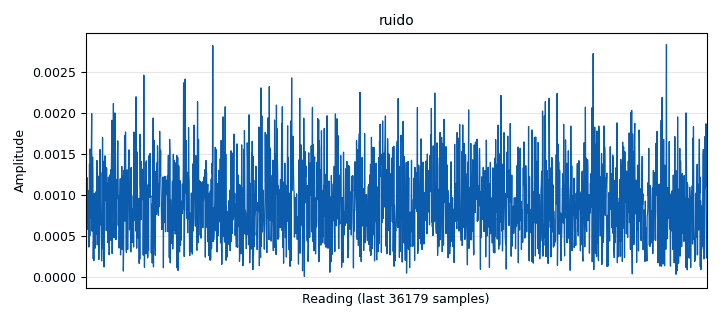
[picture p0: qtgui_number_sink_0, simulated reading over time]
options:
  parameters:
    author: gnuradio
    generate_options: qt_gui
    id: sensado
    output_language: python
    title: Not titled yet
  states: {}

blocks:
- name: samp_rate
  id: variable
  parameters:
    value: '32000'
  states: {}
- name: analog_noise_source_x_0
  id: analog_noise_source_x
  parameters:
    amp: '0.001'
    noise_type: analog.GR_GAUSSIAN
    seed: '42'
    type: complex
  states: {}
- name: analog_sig_source_x_0
  id: analog_sig_source_x
  parameters:
    amp: '0.001'
    freq: '1000'
    offset: '0'
    phase: '0'
    samp_rate: samp_rate
    type: complex
    waveform: analog.GR_TRI_WAVE
  states: {state: disabled}
- name: blocks_complex_to_mag_0_0
  id: blocks_complex_to_mag
  parameters: {}
  states: {}
- name: blocks_null_sink_0
  id: blocks_null_sink
  parameters:
    type: complex
  states: {}
- name: blocks_null_sink_0_0
  id: blocks_null_sink
  parameters:
    type: complex
  states: {}
- name: epy_block_1
  id: epy_block
  parameters:
    _source_code: "\"\"\"\nEmbedded Python Blocks:\n\nEach time this file is saved, GRC will instantiate the first class it finds\nto get ports and parameters of your block. The arguments to __init__  will\nbe the parameters. All of them are required to have default values!\n\"\"\"\n\nimport numpy as np\nfrom gnuradio import gr\nimport pmt\nimport zmq\nimport numpy as np\nimport math\nfrom datetime import datetime, timedelta\nimport numpy as np\n\n\nclass blk(gr.sync_block):  \n    \"\"\"Embedded Python Block example - a simple multiply const\"\"\"\n\n    def __init__(self, designator=\"A\"):  #¡¡¡ capaz hay que hacer algo distinto cuando tenemos un canal de cuando tenemos dos canales!!!\n        \"\"\"arguments to this function show up as parameters in GRC\"\"\"\n        gr.sync_block.__init__(\n            self,\n            name='potumbral',   # will show up in GRC\n            in_sig=[np.complex64],\n            out_sig=[(np.complex64,1), (np.complex64,1), (np.float32,2)] #[(np.complex64,2)] para probar, dado que tenemos una salida con dos valores\n        )\n        self.N_A = 1000 #Cantidad de muestras correspondiente a 20ms\n        self.subintervalos_A = 0\n        self.N_muestras_A = []\n        self.pow_4s_A = np.zeros(200)\n        \n        self.N_B = 1000 #Cantidad de muestras correspondiente a 20ms\n        self.subintervalos_B = 0\n        self.N_muestras_B = []\n        self.pow_4s_B = np.zeros(200)\n        \n        self.pow_minuto_A = np.full(15, 2e-14) #Se inicializa el arreglo para que el umbral de -107dBm=2e-14\n        self.pow_minuto_B = np.full(15, 2e-14) #Se inicializa el arreglo para que el umbral de -107dBm=2e-14 \n        \n        self.arr_pow_actual_A = np.full(5, 2e-14) #Se inicializa el arreglo que determina la potencia actual con el promedio. Se toma un promedio movil del ultimo ms (5 muestras) iniciando con una potencia inicial igual al umbral minimo  \n        self.arr_pow_actual_B = np.full(5, 2e-14) #Se inicializa el arreglo que determina la potencia actual con el promedio. Se toma un promedio movil del ultimo ms (5 muestras) iniciando con una potencia inicial igual al umbral minimo  \n        \n        self.umbral_A = 2e-14\n        self.umbral_B = 2e-14\n        \n        self.umb_y_pow_actual_A = np.zeros(2) #Se crea este arreglo que es lo que se le pasa al transmisor. Un umbral y una potencia actual en ese orden para que sepa interpretarlo.\n        self.salida_db_A = np.zeros(2) #Se crea este arreglo que es lo que se le pasa al transmisor. Un umbral y una potencia actual en ese orden para que sepa interpretarlo.\n        \n        self.umb_y_pow_actual_B = np.zeros(2) #Se crea este arreglo que es lo que se le pasa al transmisor. Un umbral y una potencia actual en ese orden para que sepa interpretarlo.\n        self.salida_db_B = np.zeros(2) #Se crea este arreglo que es lo que se le pasa al transmisor. Un umbral y una potencia actual en ese orden para que sepa interpretarlo.\n        self.slots_per_minute = 2250\n        self.slot_duration = 60/2250\n        self.samples_per_slot = int(self.slot_duration*50000)\n        \n        \n        self.designator = designator\n        \n        self.pow_actual_A = 1\n        self.umbral_actual_A = 1\n        \n        self.pow_actual_B = 1\n        self.umbral_actual_B = 1\n        \n        self.salida_A = np.zeros(2)\n        self.salida_B = np.zeros(2)\n        \n        self.power_A = 2e-7\n        self.power_B = 2e-7\n        \n        self.pow_avg_A = 2e-7\n        self.pow_avg_B = 2e-7\n        \n        self.slot_actual_A = 0 #Variable que se utiliza para saber en qué slot del frame actual se está\n        self.slot_actual_B = 0 #Variable que se utiliza para saber en qué slot del frame actual se está\n        \n        self.contador_muestra_A = 0 #Variable que permite determinar qué muestra del slot actual se está procesando  \n        self.contador_muestra_B = 0 #Variable que permite determinar qué muestra del slot actual se está procesando\n        \n        self.intervalo_evaluado_A = np.full(11, False) #Se define el arreglo que contendrá los últimos 11 intervalos de 100 microsegundos (0,1 ms). Esta es la cantidad de intervalos que entra en el rango donde se debe medir la potencia. Se toman intervalos de esa longitud pues es la longitud que se usa para calcular la potencia (la potencia es el promedio de los últimos 100 microsegundos).\n        self.intervalo_evaluado_B = np.full(11, False) #Se define el arreglo que contendrá los últimos 11 intervalos de 100 microsegundos (0,1 ms). Esta es la cantidad de intervalos que entra en el rango donde se debe medir la potencia. Se toman intervalos de esa longitud pues es la longitud que se usa para calcular la potencia (la potencia es el promedio de los últimos 100 microsegundos).\n        \n        self.puedo_usar_A = -1 #Variable que determina si puede utilizarse o no el slot actual, inicializada con -1 (no se puede transmitir)\n        self.puedo_usar_B = -1 #Variable que determina si puede utilizarse o no el slot actual, inicializada con -1 (no se puede transmitir)\n        \n        self.salida_slot_A = np.zeros(2) #Tupla usada para indicar si en e canal el slot actual puede usarse para transmitir o no\n        self.salida_slot_B = np.zeros(2) #Tupla usada para indicar si en e canal el slot actual puede usarse para transmitir o no\n                \n        self.slots_candidatos_A = [10, 11, 12, 13, 14, 15, 16, 17, 18, 19] #Arreglo con los slots donde el transmisor desea transmitir\n        self.slots_candidatos_B = [10, 11, 12, 13, 14, 15, 16, 17, 18, 19] #Arreglo con los slots donde el transmisor desea transmitir\n        \n        self.slots_recibidos = []\n        \n    def work(self, input_items, output_items):\n        \"\"\"example: multiply with constant\"\"\"\n        current_utc_time = datetime.utcnow()\n        start_of_minute = current_utc_time.replace(second=0, microsecond=0)\n        time_elapsed = current_utc_time - start_of_minute\n        milliseconds_elapsed = time_elapsed.total_seconds() * 1000\n        slot_index = (milliseconds_elapsed)*self.slots_per_minute/60000 #Cantidad de slots desde que empezó el minuto.\n\n        #print(\"slot actual: \", self.slot_actual_A)\n        #print(\"contador: \", self.contador_muestra_A)\n        \n        if milliseconds_elapsed > 59750:\n        \tprint(len(self.slots_recibidos))\n        \tself.slots_recibidos = []\n        \n        num_taps = len(input_items[0])  # Get the number of taps received\n        \n        if (self.designator == \"A\"):\n        \tself.slot_actual_A = int(slot_index) #Se guarda el slot actual donde estamos parados\n        \tself.slots_recibidos.append(self.slot_actual_A)\n        \tself.contador_muestra_A = int((slot_index-self.slot_actual_A)*self.samples_per_slot) #Cantidad de tiempo que pasó desde que empezó el slot en cantidad de muestras. Es decir si 1 sot son 1333 muestras, se guarda cuantas muestras hay en 0.(algo) slots.\n        \tfor i in range(0, len(input_items[0])):\n        \t\tself.contador_muestra_A += 1\n        \t\tmuestra_actual = input_items[0][i]\n        \t\tself.power_A = np.abs(muestra_actual)**2 #Paso la muestra actual compleja a un real con la potencia del complejo. Esto permite acumular las muestras por un periodo de tiempo arbitrario (que definimos como 0,1ms o 100 micro) y luego tomar un promedio para obtener la potencia atual del canal.\n        \t\t#Para tomar el promedio de la potencia actual en el canal se toma un \"promedio movil\". En el for se rotan los valores del arreglo un lugar para la derecha excepto el primero que se va a sobreescribir. Si por ejemplo en el arreglo teniamos arr=[1, 2, 3, 4] despues del for va a quedar arr=[1,1,2,3]. Después se sobreescribe el primer elemento y se vuelve a calcular el promedio.\n        \t\t\n        \t\tfor j in range(len(self.arr_pow_actual_A) - 1, 0, -1): \n        \t\t\tself.arr_pow_actual_A[j] = self.arr_pow_actual_A[j - 1]\t\n        \t\t\n        \t\tself.arr_pow_actual_A[0] = self.power_A\n        \t\tself.pow_actual_A = np.mean(self.arr_pow_actual_A) #La potencia actual del canal es el promedio de la potencia del ultimo ms del canal\n        \t\tself.umbral_actual_A = (10*math.log10(self.umbral_A/0.001)) + 10 #Se le suma 10dB al umbral, el umbral actual es el ultimo calculado que se actualiza cada 4s. \n        \t\t\n        \t\tself.umb_y_pow_actual_A[0] = self.umbral_actual_A\n        \t\tself.umb_y_pow_actual_A[1] = self.pow_actual_A\n        \t\t\n        \t\tself.salida_A = self.umb_y_pow_actual_A #Se setea el parametro que se utilizara como salida, se saca siempre un arreglo con 2 elementos, umbral y potencia actuales (en ese orden). \n        \t\tself.salida_db_A[0] = self.umbral_actual_A #*\n        \t\tif self.pow_actual_A == 0:\n        \t\t\tself.pow_actual_A = 1e-20\n        \t\t\n        \t\tself.salida_db_A[1] = 10*math.log10(self.pow_actual_A/0.001) # preguntar si va en dbm o no\n        \t\t\n        \t\tself.N_muestras_A = np.append(self.N_muestras_A, self.power_A) #Se acumulan las 1000 muestras para formar los 20ms, esto se acumula independientemente del calculo de la potencia actual del canal.\n        \t\tself.N_A = self.N_A - 1\n        \t\tif self.N_A == 0: #Si ya acumule la potencia de los ultimos 20 ms.\n        \t\t\tself.pow_avg_A = np.mean(self.N_muestras_A) #Los 200 valores de potencia que se acumulan para formar los 4s es el promedio de los 20ms.\n        \t\t\tself.N_muestras_A = []\n        \t\t\tself.N_A = 1000\n        \t\t\tself.pow_4s_A[self.subintervalos_A] = self.pow_avg_A #Se acumulan los 200 valores de potencia para llegar a 4s.\n        \t\t\tself.subintervalos_A += 1\n        \t\t\t#print(self.subintervalos_A)\n        \t\tif self.subintervalos_A == 200: #Si completé los 200 subintervalos de 20ms tengo 4s y agarro el mínimo de eso.\n        \t\t\tpo_4_A = np.min(self.pow_4s_A)\n        \t\t\t#El umbral del canal se actualiza cada 4s y esto se hace tomando el minimo entre los ultimos 15 valores de 4s de potencia que se acumularon. En otras palabras, en el ultimo minuto se acumulan 15 muestras de potencia de 4s, se toma entonces el minimo de esas 15 como el nuevo valor de umbral. Para actualizar cuales son los ultimos 15 valores de 4s, se hace el mismo procedimiento con el for que con arr_pow_actual, o sea, se shiftea todo el arreglo un lugar para la derecha excepto la primera posicion y se sobreescribe dicho valor.\n        \t\t\tfor t in range(len(self.pow_minuto_A) - 1, 0, -1):\n        \t\t\t\tself.pow_minuto_A[t] = self.pow_minuto_A[t - 1]\n        \t\t\tself.pow_minuto_A[0] = po_4_A\n        \t\t\tself.umbral_A = np.min(self.pow_minuto_A)\n        \t\t\tif self.umbral_A < 2e-14: #Si la potencia es menor a -107dBm se pone en -107dBm.\n        \t\t\t\tself.umbral_A = 2e-14\n        \t\t\telif self.umbral_A > 1.9e-5: #Si la potencia es mayor a -17dBm se pone en -17dBm (porque se suma 10dB después).\n        \t\t\t\tself.umbral_A = 1.9e-5\n        \t\t\tself.subintervalos_A = 0 \n        \t\t\n        \t\tif self.slot_actual_A in self.slots_candidatos_A: #Nos fijamos si estamos en un slot en donde se desee transmitir.\n        \t\t\tif self.contador_muestra_A >= 41 and self.contador_muestra_A < 99: #Nos fijamos si estamos en una muestra donde se debe medir el canal para determinar si el slot está libre o en uso.\n        \t\t\t\tfor r in range(len(self.intervalo_evaluado_A) - 1, 0, -1):\n        \t\t\t\t\tself.intervalo_evaluado_A[r] = self.intervalo_evaluado_A[r - 1]\n        \t\t\t\tself.intervalo_evaluado_A[0] = self.salida_db_A[1] < self.salida_db_A[0]\n        \t\t\t\t\n        \t\t\telif self.contador_muestra_A == 99: #Si ya se recorrieron todas las muestras donde se debe evaluar el slot, ya se actualizaron las 11 entradas del arreglo y se puede determinar si el slot está libre o no.\n        \t\t\t\tself.puedo_usar_A = np.sum(self.intervalo_evaluado_A) == 11 #Si las 11 entradas son True (suma 11), la potencia es menor al umbral en todo el tramo y se puede usar ese slot, está libre.\n        \t\t\t\t\n        \t\t\telif self.contador_muestra_A == 120:\n        \t\t\t\tself.puedo_usar_A = -1\n        \t\t\tself.salida_slot_A[1] = self.puedo_usar_A #Se fija si el slot está libre o no en la salida.\n        \t\t\tself.salida_slot_A[0] = self.slot_actual_A #Se fija el numero de slot en la salida\n        \t\t\t#if self.contador_muestra_A == 99:\n        \t\t\t#\tprint(\"u \", self.salida_db_A[0], \"ints \", self.intervalo_evaluado_A, \"sal \", self.salida_slot_A)\n        \t\t\t\n        \t\tif self.contador_muestra_A == self.samples_per_slot: #Si la muestra es la última muestra del slot, se debe aumentar en 1 el slot y poner la muestra actual en 0.\n        \t\t\tself.contador_muestra_A = 0\n        \t\t\tif self.slot_actual_A == 2250: #Si estamos en la última muestra del último slot, en vez de aumentar en uno el slot actual, debemos volver a 0 el slot.\n        \t\t\t\tself.slot_actual_A = 0\n        \t\t\telse:\n        \t\t\t\tself.slot_actual_A += 1\n        \t\t\tself.slots_recibidos.append(self.slot_actual_A)\n        \t\t\t\t\n\t\t\t\n        \t\toutput_items[0][i] = self.salida_db_A[0]\n        \t\toutput_items[1][i] = self.salida_db_A[1]\n        \t\toutput_items[2][i] = self.salida_slot_A\n        \n        \n        \n        if (self.designator == \"B\"):\n        \tself.slot_actual_B = int(slot_index) #Se guarda el slot actual donde estamos parados\n        \tself.contador_muestra_B = int((slot_index-self.slot_actual_B)*self.samples_per_slot) #Cantidad de tiempo que pasó desde que empezó el slot en cantidad de muestras. Es decir si 1 sot son 1333 muestras, se guarda cuantas muestras hay en 0.(algo) slots.\n        \tfor i in range(0, len(input_items[0])):\n        \t\tself.contador_muestra_B += 1\n        \t\tmuestra_actual = input_items[0][i]\n        \t\tself.power_B = np.abs(muestra_actual)**2 #Paso la muestra actual compleja a un real con la potencia del complejo. Esto permite acumular las muestras por un periodo de tiempo arbitrario (que definimos como 0,1ms o 100 micro) y luego tomar un promedio para obtener la potencia atual del canal.\n        \t\t#Para tomar el promedio de la potencia actual en el canal se toma un \"promedio movil\". En el for se rotan los valores del arreglo un lugar para la derecha excepto el primero que se va a sobreescribir. Si por ejemplo en el arreglo teniamos arr=[1, 2, 3, 4] despues del for va a quedar arr=[1,1,2,3]. Después se sobreescribe el primer elemento y se vuelve a calcular el promedio.\n        \t\t\n        \t\tfor j in range(len(self.arr_pow_actual_B) - 1, 0, -1): \n        \t\t\tself.arr_pow_actual_B[j] = self.arr_pow_actual_B[j - 1]\t\n        \t\t\n        \t\tself.arr_pow_actual_B[0] = self.power_B\n        \t\tself.pow_actual_B = np.mean(self.arr_pow_actual_B) #La potencia actual del canal es el promedio de la potencia del ultimo ms del canal\n        \t\tself.umbral_actual_B = (10*math.log10(self.umbral_B/0.001)) + 10 #Se le suma 10dB al umbral, el umbral actual es el ultimo calculado que se actualiza cada 4s. \n        \t\t\n        \t\tself.umb_y_pow_actual_B[0] = self.umbral_actual_B\n        \t\tself.umb_y_pow_actual_B[1] = self.pow_actual_B\n        \t\t\n        \t\tself.salida_B = self.umb_y_pow_actual_B #Se setea el parametro que se utilizara como salida, se saca siempre un arreglo con 2 elementos, umbral y potencia actuales (en ese orden). \n        \t\tself.salida_db_B[0] = self.umbral_actual_B #*\n        \t\tif self.pow_actual_B == 0:\n        \t\t\tself.pow_actual_B = 1e-20\n        \t\t\n        \t\tself.salida_db_B[1] = 10*math.log10(self.pow_actual_B/0.001) # preguntar si va en dbm o no\n        \t\t\n        \t\tself.N_muestras_B = np.append(self.N_muestras_B, self.power_B) #Se acumulan las 1000 muestras para formar los 20ms, esto se acumula independientemente del calculo de la potencia actual del canal.\n        \t\tself.N_B = self.N_B - 1\n        \t\tif self.N_B == 0: #Si ya acumule la potencia de los ultimos 20 ms.\n        \t\t\tself.pow_avg_B = np.mean(self.N_muestras_B) #Los 200 valores de potencia que se acumulan para formar los 4s es el promedio de los 20ms.\n        \t\t\tself.N_muestras_B = []\n        \t\t\tself.N_B = 1000\n        \t\t\tself.pow_4s_B[self.subintervalos_B] = self.pow_avg_B #Se acumulan los 200 valores de potencia para llegar a 4s.\n        \t\t\tself.subintervalos_B += 1\n        \t\t\t#print(self.subintervalos_B)\n        \t\tif self.subintervalos_B == 200: #Si completé los 200 subintervalos de 20ms tengo 4s y agarro el mínimo de eso.\n        \t\t\tpo_4_B = np.min(self.pow_4s_B)\n        \t\t\t#El umbral del canal se actualiza cada 4s y esto se hace tomando el minimo entre los ultimos 15 valores de 4s de potencia que se acumularon. En otras palabras, en el ultimo minuto se acumulan 15 muestras de potencia de 4s, se toma entonces el minimo de esas 15 como el nuevo valor de umbral. Para actualizar cuales son los ultimos 15 valores de 4s, se hace el mismo procedimiento con el for que con arr_pow_actual, o sea, se shiftea todo el arreglo un lugar para la derecha excepto la primera posicion y se sobreescribe dicho valor.\n        \t\t\tfor t in range(len(self.pow_minuto_B) - 1, 0, -1):\n        \t\t\t\tself.pow_minuto_B[t] = self.pow_minuto_B[t - 1]\n        \t\t\tself.pow_minuto_B[0] = po_4_B\n        \t\t\tself.umbral_B = np.min(self.pow_minuto_B)\n        \t\t\tif self.umbral_B < 2e-14: #Si la potencia es menor a -107dBm se pone en -107dBm.\n        \t\t\t\tself.umbral_B = 2e-14\n        \t\t\telif self.umbral_B > 1.9e-5: #Si la potencia es mayor a -17dBm se pone en -17dBm (porque se suma 10dB después).\n        \t\t\t\tself.umbral_B = 1.9e-5\n        \t\t\tself.subintervalos_B = 0 \n        \t\t\n        \t\tif self.slot_actual_B in self.slots_candidatos_B: #Nos fijamos si estamos en un slot en donde se desee transmitir.\n        \t\t\tif self.contador_muestra_B >= 41 and self.contador_muestra_B < 99: #Nos fijamos si estamos en una muestra donde se debe medir el canal para determinar si el slot está libre o en uso.\n        \t\t\t\tfor r in range(len(self.intervalo_evaluado_B) - 1, 0, -1):\n        \t\t\t\t\tself.intervalo_evaluado_B[r] = self.intervalo_evaluado_B[r - 1]\n        \t\t\t\tself.intervalo_evaluado_B[0] = self.salida_db_B[1] < self.salida_db_B[0]\n        \t\t\t\t\n        \t\t\telif self.contador_muestra_B == 99: #Si ya se recorrieron todas las muestras donde se debe evaluar el slot, ya se actualizaron las 11 entradas del arreglo y se puede determinar si el slot está libre o no.\n        \t\t\t\tself.puedo_usar_B = np.sum(self.intervalo_evaluado_B) == 11 #Si las 11 entradas son True (suma 11), la potencia es menor al umbral en todo el tramo y se puede usar ese slot, está libre.\n        \t\t\t\t\n        \t\t\telif self.contador_muestra_B == 120:\n        \t\t\t\tself.puedo_usar_B = -1\n        \t\t\tself.salida_slot_B[1] = self.puedo_usar_B #Se fija si el slot está libre o no en la salida.\n        \t\t\tself.salida_slot_B[0] = self.slot_actual_B #Se fija el numero de slot en la salida\n        \t\t\tif self.contador_muestra_B == 99:\n        \t\t\t\tprint(\"u \", self.salida_db_B[0], \"ints \", self.intervalo_evaluado_B, \"sal \", self.salida_slot_B)\n        \t\t\t\n        \t\tif self.contador_muestra_B == self.samples_per_slot: #Si la muestra es la última muestra del slot, se debe aumentar en 1 el slot y poner la muestra actual en 0.\n        \t\t\tself.contador_muestra_B = 0\n        \t\t\tif self.slot_actual_B == 2250: #Si estamos en la última muestra del último slot, en vez de aumentar en uno el slot actual, debemos volver a 0 el slot.\n        \t\t\t\tself.slot_actual_B = 0\n        \t\t\telse:\n        \t\t\t\tself.slot_actual_B += 1\n        \t\t\t\t\n        \t\tif self.contador_muestra_B == 0:\n        \t\t\tprint(\"salida\", self.salida_slot_B)\n\t\t\t\n        \t\toutput_items[0][i] = self.salida_db_B[0]\n        \t\toutput_items[1][i] = self.salida_db_B[1]\n        \t\toutput_items[2][i] = self.salida_slot_B\n        \t\t\n        return len(output_items[0]) \n        \n        \n        \n"
    designator: '''A'''
  states: {}
- name: qtgui_number_sink_0
  id: qtgui_number_sink
  parameters:
    autoscale: 'True'
    graph_type: qtgui.NUM_GRAPH_HORIZ
    max: '10'
    min: '-10'
    name: '"ruido"'
    type: float
  states: {}
- name: qtgui_vector_sink_f_0
  id: qtgui_vector_sink_f
  parameters:
    grid: 'True'
    vlen: '2'
    x_start: '0'
    x_step: '50'
  states: {}

connections:
- [analog_noise_source_x_0, '0', blocks_complex_to_mag_0_0, '0']
- [analog_noise_source_x_0, '0', epy_block_1, '0']
- [analog_sig_source_x_0, '0', epy_block_1, '0']
- [blocks_complex_to_mag_0_0, '0', qtgui_number_sink_0, '0']
- [epy_block_1, '0', blocks_null_sink_0, '0']
- [epy_block_1, '1', blocks_null_sink_0_0, '0']
- [epy_block_1, '2', qtgui_vector_sink_f_0, '0']

metadata:
  file_format: 1
